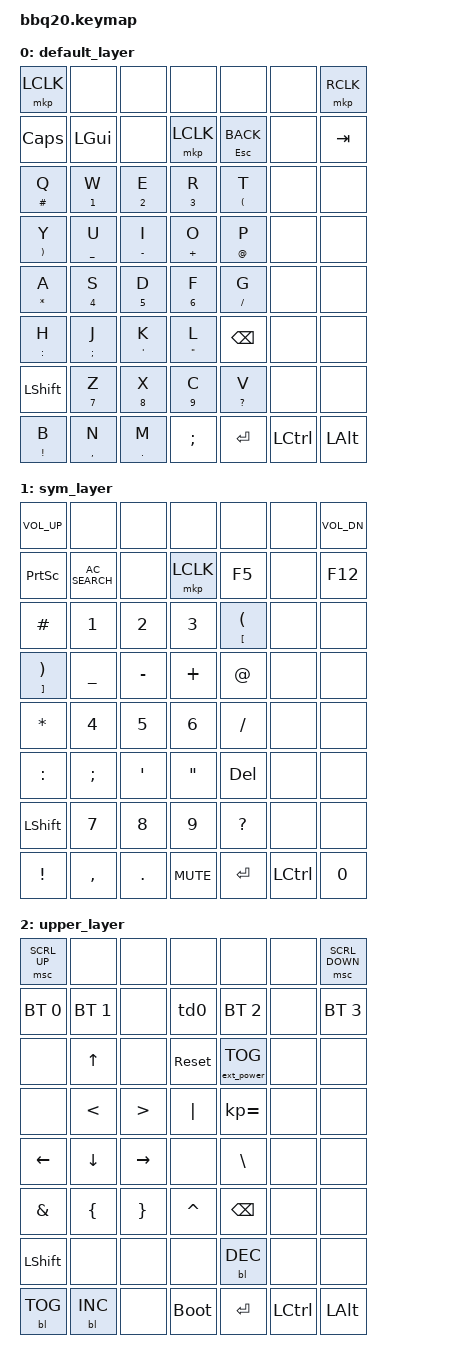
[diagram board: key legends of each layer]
/*
 * Copyright (c) 2023 ZitaoTech
 *
 * SPDX-License-Identifier: MIT
 */

#include <behaviors.dtsi>
#include <dt-bindings/zmk/keys.h>
#include <dt-bindings/zmk/bt.h>
#include <dt-bindings/zmk/outputs.h>
#include <dt-bindings/zmk/mouse.h>
#include <dt-bindings/zmk/backlight.h>
#include <dt-bindings/zmk/ext_power.h>

#define SYM 1
#define UPPER 2

/ {
    behaviors {
        td0: tap_dance_0 {
            compatible = "zmk,behavior-tap-dance";
            #binding-cells = <0>;
            tapping-term-ms = <400>;
            bindings = <&mkp LCLK>, <&bt BT_CLR>;
        };
        
        hm: homerow_mods {
            compatible = "zmk,behavior-hold-tap";
            #binding-cells = <2>;
            tapping-term-ms = <500>;
            bindings = <&out &kp>;
        };

        bhm: balanced_homerow_mods {
            compatible = "zmk,behavior-hold-tap";
            #binding-cells = <2>;
            flavor = "balanced";
            tapping-term-ms = <400>;
            bindings = <&kp>, <&kp>;
        };
    };

    keymap {
        compatible = "zmk,keymap";

        default_layer {
            bindings = <
                // Row 0 (物理位置)
                &mkp LCLK &none    &none    &none    &none    &none    &mkp RCLK
                
                // Row 1  
                &kp CLCK  &kp LGUI &none    &mkp LCLK &mt ESC K_BACK &none &kp TAB
                
                // Row 2
                &bhm HASH Q &bhm N1 W &bhm N2 E &bhm N3 R &bhm LPAR T &none &none
                
                // Row 3  
                &bhm RPAR Y &bhm UNDER U &bhm MINUS I &bhm PLUS O &bhm AT P &none &none
                
                // Row 4
                &bhm STAR A &bhm N4 S &bhm N5 D &bhm N6 F &bhm SLASH G &none &none
                
                // Row 5
                &bhm COLON H &bhm SEMI J &bhm APOS K &bhm DQT L &kp BSPC &none &none
                
                // Row 6
                &kp LSHFT &bhm N7 Z &bhm N8 X &bhm N9 C &bhm QMARK V &none &none
                
                // Row 7
                &bhm EXCL B &bhm COMMA N &bhm DOT M &kp SEMI &kp ENTER &kp LCTRL &kp LALT
            >;
        };

        sym_layer {
            bindings = <
                // Row 0
                &kp C_VOL_UP &none &none &none &none &none &kp C_VOL_DN
                
                // Row 1
                &kp PSCRN &kp C_AC_SEARCH &none &mkp LCLK &kp F5 &none &kp F12
                
                // Row 2
                &kp HASH &kp N1 &kp N2 &kp N3 &mt LBKT LPAR &none &none
                
                // Row 3
                &mt RBKT RPAR &kp UNDER &kp MINUS &kp PLUS &kp AT &none &none
                
                // Row 4
                &kp STAR &kp N4 &kp N5 &kp N6 &kp SLASH &none &none
                
                // Row 5
                &kp COLON &kp SEMI &kp APOS &kp DQT &kp DEL &none &none
                
                // Row 6
                &kp LSHFT &kp N7 &kp N8 &kp N9 &kp QMARK &none &none
                
                // Row 7
                &kp EXCL &kp COMMA &kp DOT &kp C_MUTE &kp ENTER &kp LCTRL &kp N0
            >;
        };

        upper_layer {
            bindings = <
                // Row 0
                &msc SCRL_UP &none &none &none &none &none &msc SCRL_DOWN
                
                // Row 1
                &bt BT_SEL 0 &bt BT_SEL 1 &none &td0 &bt BT_SEL 2 &none &bt BT_SEL 3
                
                // Row 2
                &none &kp UP &none &sys_reset &ext_power EP_TOG &none &none
                
                // Row 3
                &none &kp LT &kp GT &kp PIPE &kp KP_EQUAL &none &none
                
                // Row 4
                &kp LEFT &kp DOWN &kp RIGHT &none &kp BSLH &none &none
                
                // Row 5
                &kp AMPS &kp LBRC &kp RBRC &kp CARET &kp BSPC &none &none
                
                // Row 6
                &kp LSHFT &none &none &none &bl BL_DEC &none &none
                
                // Row 7
                &bl BL_TOG &bl BL_INC &none &bootloader &kp ENTER &kp LCTRL &kp LALT
            >;
        };
    };
};
